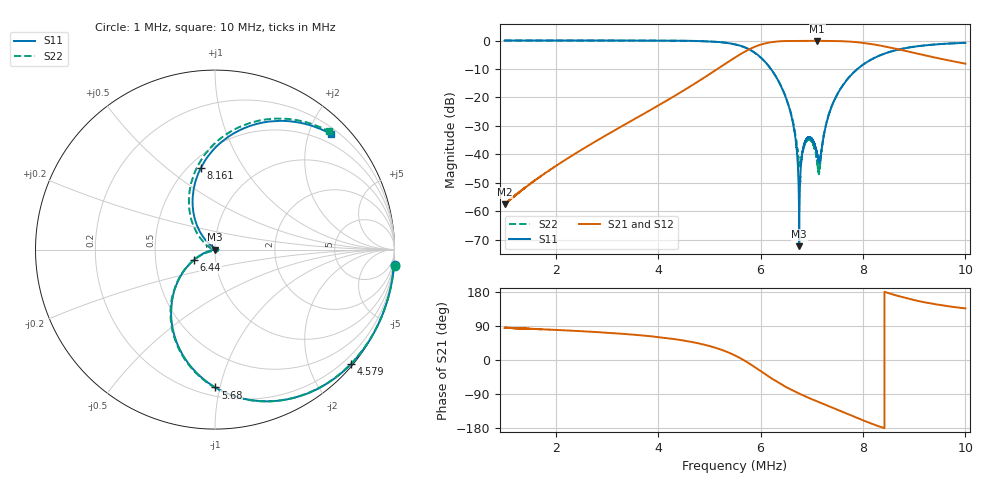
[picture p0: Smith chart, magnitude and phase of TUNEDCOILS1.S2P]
!Keysight Technologies,E5063A,MY54100949,A.07.30
!Date: Sun Dec 21 04:15:41 2025
!Data & Calibration Information:
!Freq	S11:SOLT2(ON)	S21:SOLT2(ON)	S12:SOLT2(ON)	S22:SOLT2(ON)
# Hz S RI R 50
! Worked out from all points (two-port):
!   10001 points, 1 MHz to 10 MHz, reference 50 ohm
!   highest |S21| = -0.10 dB at 7.103 MHz (marker M1); lowest = -57.5 dB at 1 MHz (marker M2)
!   |S21| within 3 dB of the highest: 5.776 MHz to 8.699 MHz (2.923 MHz wide, 40.4 % of centre)
!   lowest |S11| = -72.2 dB at 6.755 MHz (marker M3), VSWR 1.00, Z = 50 - j0.0244 ohm
!   |S11| at or under -10 dB: 6.202 MHz to 7.893 MHz (1.69 MHz wide, 24 % of centre)
!   |S22| runs from -47.0 to 0.0 dB; largest |S21 - S12| = 0.0028
!   S11 on the Smith chart (normalised r, x): 1 MHz: -1, -23; 4.579 MHz: 0.04, -2.73; 5.68 MHz: 0.26, -0.97; 6.44 MHz: 0.78, -0.09; 8.161 MHz: 0.57, +0.67; 10 MHz: 0.31, +2.39
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1000000  1 -0.0874  0.000128 0.00132  0.000117 0.00134  1 -0.0893
2500300  0.9717 -0.2424  0.00292 0.0117  0.00295 0.0117  0.9705 -0.2468
4000600  0.8708 -0.4896  0.0356 0.0629  0.0358 0.0629  0.8661 -0.4955
4579300  0.7564 -0.6392  0.0959 0.1119  0.0963 0.1117  0.7486 -0.645
5500000  0.1926 -0.8375  0.4926 0.1043  0.492 0.103  0.181 -0.8364
5680000  0.00169 -0.768  0.6295 -0.0113  0.6282 -0.0124  -0.0081 -0.7645
6039100  -0.2417 -0.404  0.7319 -0.4677  0.7297 -0.467  -0.2456 -0.3999
6439600  -0.1176 -0.0573  0.3828 -0.9006  0.3828 -0.8989  -0.1188 -0.0592
6638500  -0.0325 -0.00765  0.1511 -0.9756  0.1519 -0.9744  -0.0335 -0.0121
6754600  1.86e-05 -0.000244  0.0221 -0.9881  0.0229 -0.987  -0.00208 -0.00624
6784300  0.00586 0.000354  -0.00977 -0.9882  -0.00912 -0.9875  0.00372 -0.00648
6818500  0.011 0.000659  -0.046 -0.9872  -0.0454 -0.9864  0.00865 -0.00679
6858100  0.0156 0.000542  -0.0872 -0.9845  -0.0866 -0.9838  0.013 -0.00732
7000300  0.0188 0.000419  -0.2292 -0.9613  -0.2283 -0.9608  0.0141 -0.00891
7102900  0.00973 0.0035  -0.326 -0.9333  -0.3249 -0.9325  0.00333 -0.00628
7163200  0.000621 0.00839  -0.3806 -0.9121  -0.3796 -0.9115  -0.00664 -0.00243
7286500  -0.0246 0.0258  -0.4868 -0.8587  -0.4858 -0.8587  -0.0337 0.014
7488100  -0.073 0.0812  -0.6411 -0.7425  -0.64 -0.7429  -0.0858 0.0691
8161300  -0.0781 0.4571  -0.8489 -0.1867  -0.8493 -0.1886  -0.1027 0.4536
8500600  0.0623 0.6199  -0.7629 0.0479  -0.7642 0.0467  0.0367 0.6238
9092800  0.3541 0.7171  -0.5286 0.2425  -0.5301 0.2425  0.3332 0.7295
1e7  0.6466 0.643  -0.2826 0.2719  -0.2834 0.2724  0.6335 0.659
